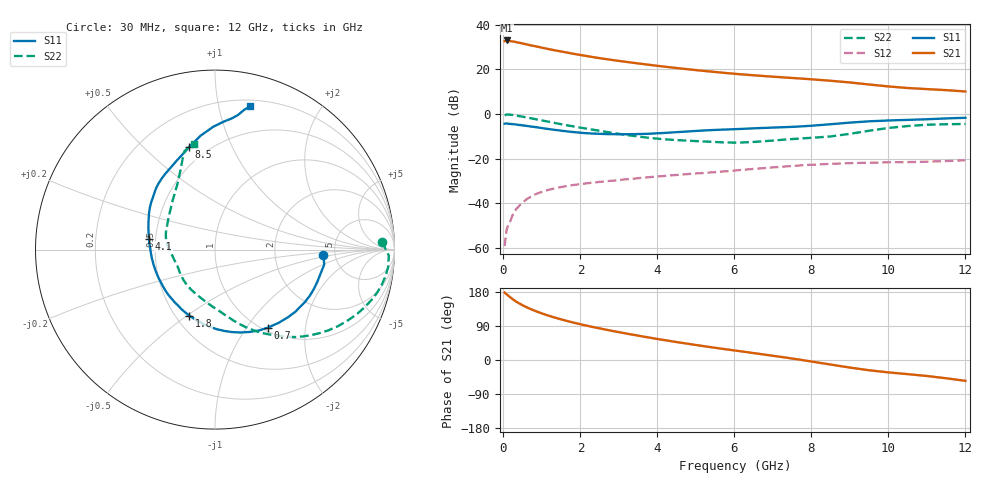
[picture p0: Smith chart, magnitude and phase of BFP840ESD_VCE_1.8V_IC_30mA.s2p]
! Infineon Technologies  Discrete & RF Semiconductors
! BFP840ESD
! VCE =  1.8 V,  IC =  30 mA
! Common Emitter S-Parameters:  May 2012
# GHz  S  MA  R  50
!  f  S11  S21  S12  S22
! GHz  MAG  ANG  MAG  ANG  MAG  ANG  MAG  ANG
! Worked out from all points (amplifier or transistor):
!   93 points, 30 MHz to 12 GHz, reference 50 ohm
!   highest |S21| = 32.9 dB at 80 MHz (marker M1)
!   |S21| within 3 dB of that: start of sweep to 939.1 MHz
!   unconditionally stable (mu >= 1): 4.224 GHz to 7.784 GHz
!   at 1.1 GHz: K = 0.49, MSG = 31.8 dB, |S12| = -34.3 dB
!   at 4.2 GHz: K = 1.00, MSG = 24.4 dB, |S12| = -27.7 dB
!   at 12 GHz: K = 0.73, MSG = 15.4 dB, |S12| = -20.7 dB
!   S11 on the Smith chart (normalised r, x): 30 MHz: 4.02, -0.41; 700 MHz: 1.05, -1.26; 1.8 GHz: 0.59, -0.51; 4.1 GHz: 0.46, +0.06; 8.5 GHz: 0.40, +0.70; 12 GHz: 0.25, +1.24
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0.03  0.605 -3.1  42.52 177.9  0.0011 108.3  0.9321 2.6
0.08  0.6141 -7.8  44.13 173.5  0.0025 105.2  0.9693 -2.0
0.23  0.5928 -21.9  42.04 161.3  0.0053 78.9  0.9497 -11.9
0.33  0.5802 -30.1  40.51 154.2  0.0074 73.0  0.9223 -17.0
0.43  0.5664 -37.5  38.97 148.1  0.0092 71.5  0.89 -21.5
0.5  0.5546 -42.8  37.59 144.3  0.0104 72.5  0.8675 -24.6
0.6  0.5405 -49.1  36.14 139.3  0.0124 68.1  0.8355 -28.5
0.7  0.5247 -56.0  34.37 134.7  0.0138 65.9  0.8054 -32.1
0.9  0.4977 -67.2  31.78 126.6  0.0169 61.3  0.7451 -38.7
1.2  0.4559 -83.5  28.01 116.1  0.0203 55.8  0.6628 -47.3
1.5  0.4222 -97.7  24.98 107.2  0.0231 51.3  0.5895 -54.5
1.8  0.395 -111.1  22.33 99.2  0.0256 48.7  0.5296 -61.0
2.1  0.3736 -123.3  20.18 92.0  0.0276 46.8  0.4776 -66.7
2.4  0.3625 -135.1  18.28 85.4  0.0295 44.9  0.4343 -72.2
2.9  0.3521 -152.8  15.81 75.3  0.0324 43.0  0.3696 -81.1
3.5  0.3552 -172.1  13.5 64.2  0.0366 40.9  0.3128 -93.9
4.1  0.3724 170.6  11.66 53.8  0.0405 38.3  0.2748 -109.3
5.2  0.4263 148.9  9.214 36.5  0.0478 34.3  0.2425 -137.3
6.1  0.4599 137.6  7.799 23.8  0.0551 31.3  0.2297 -159.1
8.5  0.589 104.2  5.528 -12.0  0.0765 13.5  0.314 145.5
10.5  0.7369 82.7  3.808 -37.3  0.0837 -2.3  0.5362 109.7
12  0.8208 76.3  3.184 -55.0  0.0919 -10.2  0.5975 101.3
